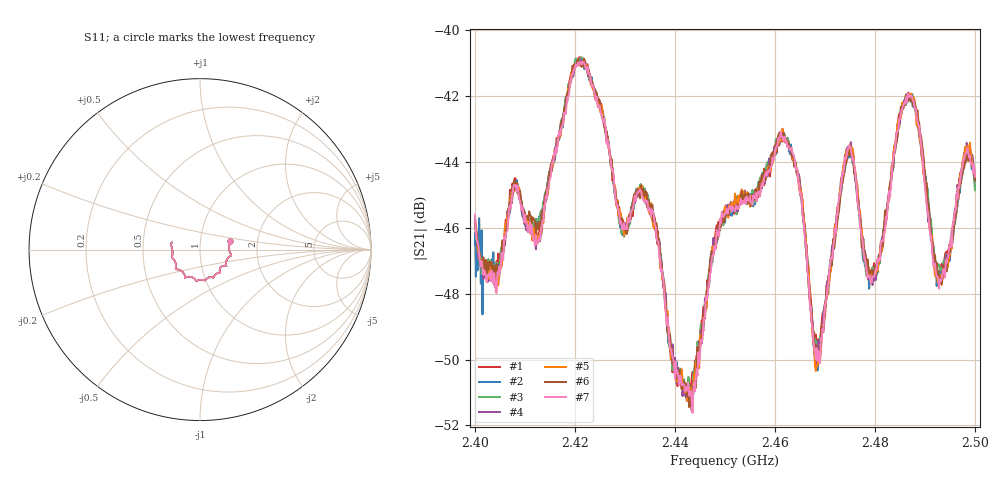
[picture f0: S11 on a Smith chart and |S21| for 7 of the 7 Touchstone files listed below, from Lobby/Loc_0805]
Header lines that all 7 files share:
# Hz S RI R
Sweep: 2.4 GHz to 2.5 GHz
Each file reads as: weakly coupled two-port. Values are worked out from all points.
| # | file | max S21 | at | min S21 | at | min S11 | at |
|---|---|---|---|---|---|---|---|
| 1 | Lab_139_1Ch1.s2p | -40.83 dB | 2.4212 GHz | -51.1 dB | 2.4422 GHz | -15.9 dB | 2.4258 GHz |
| 2 | Lab_139_3Ch1.s2p | -40.85 dB | 2.4212 GHz | -51.3 dB | 2.443 GHz | -15.9 dB | 2.4258 GHz |
| 3 | Lab_139_4Ch1.s2p | -40.84 dB | 2.4215 GHz | -51.3 dB | 2.4425 GHz | -15.9 dB | 2.4258 GHz |
| 4 | Lab_139_5Ch1.s2p | -40.89 dB | 2.4212 GHz | -51.2 dB | 2.4423 GHz | -15.9 dB | 2.4257 GHz |
| 5 | Lab_139_6Ch1.s2p | -40.98 dB | 2.4205 GHz | -51.3 dB | 2.4425 GHz | -15.9 dB | 2.4257 GHz |
| 6 | Lab_139_7Ch1.s2p | -40.88 dB | 2.4218 GHz | -51.5 dB | 2.4433 GHz | -15.9 dB | 2.4257 GHz |
| 7 | Lab_139_9Ch1.s2p | -40.96 dB | 2.4212 GHz | -51.6 dB | 2.4435 GHz | -15.9 dB | 2.4258 GHz |
